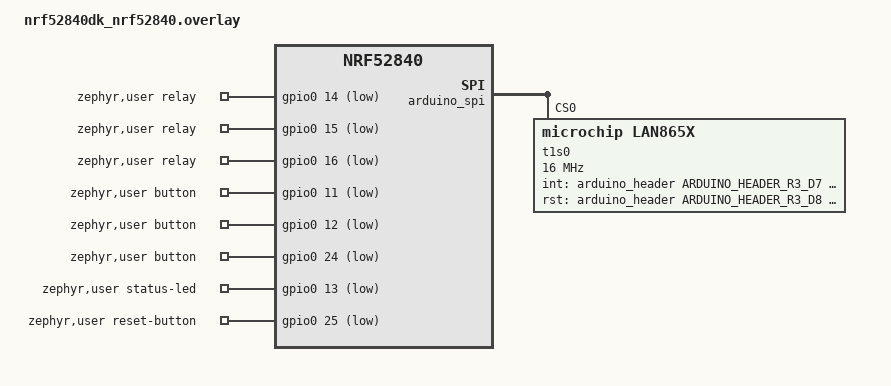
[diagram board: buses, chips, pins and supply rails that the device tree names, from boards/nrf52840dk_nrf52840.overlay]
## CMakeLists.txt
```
# SPDX-License-Identifier: Apache-2.0
cmake_minimum_required(VERSION 3.20.0)

find_package(Zephyr REQUIRED HINTS $ENV{ZEPHYR_BASE})
project(wired_switchboard LANGUAGES C)

target_include_directories(app PRIVATE src)

target_sources(app PRIVATE
	src/main.c
	src/device_model.c
	src/io_board.c
	src/app_settings.c
	src/net_t1s.c
	src/status_led.c
)

target_sources_ifdef(CONFIG_APP_MQTT app PRIVATE src/mqtt_app.c)
target_sources_ifdef(CONFIG_APP_SHELL app PRIVATE src/app_shell.c)
```

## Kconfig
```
# SPDX-License-Identifier: Apache-2.0
mainmenu "Wired Switchboard"

menu "Wired Switchboard application"

config APP_DEVICE_NAME_DEFAULT
	string "Default device name (used for MQTT topics / HA discovery)"
	default "switchboard"

config APP_STATE_RESTORE
	bool "Restore channel states after power loss"
	default y
	help
	  Channel states are written to NVS (debounced) and restored at boot.
	  Useful because PoDL supply interruptions are a normal event on a
	  shared bus segment.

config APP_STATE_SAVE_DELAY_MS
	int "Debounce before persisting channel state"
	default 2000
	help
	  Limits flash wear when a channel is toggled repeatedly.

config APP_SHELL
	bool "Provisioning shell commands (sb ...)"
	default y
	depends on SHELL

menu "10BASE-T1S / PLCA defaults"

config APP_PLCA_NODE_ID_DEFAULT
	int "Default PLCA node ID (0 = coordinator, 255 = PLCA disabled/CSMA-CD)"
	range 0 255
	default 1

config APP_PLCA_NODE_COUNT_DEFAULT
	int "Default PLCA node count (only relevant for the coordinator)"
	range 1 255
	default 8

config APP_PLCA_BURST_COUNT
	int "PLCA burst count"
	range 0 255
	default 0

config APP_PLCA_BURST_TIMER
	int "PLCA burst timer [bit times]"
	range 0 255
	default 128

config APP_PLCA_TO_TIMER
	int "PLCA transmit opportunity timer [bit times]"
	range 0 255
	default 32

endmenu

menuconfig APP_MQTT
	bool "MQTT front-end (Home Assistant discovery)"
	default y
	depends on MQTT_LIB

if APP_MQTT

config APP_MQTT_BROKER_DEFAULT
	string "Default MQTT broker host name or IP"
	default "mqtt.local"

config APP_MQTT_PORT_DEFAULT
	int "Default MQTT broker port"
	default 1883

config APP_MQTT_TOPIC_PREFIX
	string "Topic prefix"
	default "switchboard"

config APP_MQTT_HA_DISCOVERY
	bool "Publish Home Assistant MQTT discovery messages"
	default y

config APP_MQTT_HA_DISCOVERY_PREFIX
	string "Home Assistant discovery prefix"
	default "homeassistant"
	depends on APP_MQTT_HA_DISCOVERY

config APP_MQTT_KEEPALIVE_S
	int "MQTT keep-alive [s]"
	default 60

config APP_MQTT_THREAD_STACK_SIZE
	int "MQTT thread stack size"
	default 3072

config APP_MQTT_THREAD_PRIO
	int "MQTT thread priority"
	default 7

endif # APP_MQTT

module = APP
module-str = Wired Switchboard
source "subsys/logging/Kconfig.template.log_config"

endmenu

source "Kconfig.zephyr"
```

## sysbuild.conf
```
# MCUboot as the immutable first stage. Phase 1 uses internal flash only
# (app is ~250 kB); phase 2 (Matter) will move the secondary slot to the
# external QSPI NOR (MX25R64 on the DK), see docs/architecture.md.
SB_CONFIG_BOOTLOADER_MCUBOOT=y
```

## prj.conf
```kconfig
# SPDX-License-Identifier: Apache-2.0
# Wired Switchboard - phase 1: 10BASE-T1S (LAN8651 MAC-PHY) + MQTT

# ---------------------------------------------------------------- System
CONFIG_MAIN_STACK_SIZE=3072
CONFIG_SYSTEM_WORKQUEUE_STACK_SIZE=3072
CONFIG_HEAP_MEM_POOL_SIZE=16384
CONFIG_HWINFO=y
CONFIG_REBOOT=y
CONFIG_GPIO=y
CONFIG_SPI=y
CONFIG_ASSERT=y
CONFIG_HW_STACK_PROTECTION=y
CONFIG_RESET_ON_FATAL_ERROR=y

# ---------------------------------------------------------------- Logging / shell
# Dev console = UART0 via the J-Link VCOM on the DK.
# For USB CDC-ACM instead:  west build ... -S cdc-acm-console
CONFIG_LOG=y
CONFIG_LOG_MODE_DEFERRED=y
CONFIG_LOG_BUFFER_SIZE=4096
CONFIG_LOG_DEFAULT_LEVEL=3
CONFIG_SHELL=y
CONFIG_SHELL_STACK_SIZE=3072
CONFIG_NET_SHELL=y

# ---------------------------------------------------------------- Persistent settings
CONFIG_FLASH=y
CONFIG_FLASH_MAP=y
CONFIG_FLASH_PAGE_LAYOUT=y
CONFIG_NVS=y
CONFIG_SETTINGS=y
CONFIG_SETTINGS_NVS=y
CONFIG_SETTINGS_RUNTIME=y

# ---------------------------------------------------------------- Networking core
CONFIG_NETWORKING=y
CONFIG_NET_L2_ETHERNET=y
CONFIG_NET_L2_ETHERNET_MGMT=y
CONFIG_NET_IPV4=y
CONFIG_NET_IPV6=y
CONFIG_NET_DHCPV4=y
CONFIG_NET_IPV4_AUTO=y
CONFIG_NET_TCP=y
CONFIG_NET_UDP=y
CONFIG_NET_SOCKETS=y
CONFIG_NET_SOCKETS_POLL_MAX=4
CONFIG_NET_MGMT=y
CONFIG_NET_MGMT_EVENT=y
CONFIG_NET_MGMT_EVENT_INFO=y
CONFIG_NET_CONNECTION_MANAGER=y
CONFIG_NET_CONFIG_SETTINGS=n

# Buffers sized for a 10 Mbit/s shared segment, conservative on 256 kB RAM.
CONFIG_NET_PKT_RX_COUNT=16
CONFIG_NET_PKT_TX_COUNT=16
CONFIG_NET_BUF_RX_COUNT=32
CONFIG_NET_BUF_TX_COUNT=32
CONFIG_NET_MAX_CONTEXTS=8
CONFIG_NET_MAX_CONN=6
CONFIG_NET_IF_MCAST_IPV6_ADDR_COUNT=6

# Name resolution + discoverability ("<hostname>.local")
CONFIG_DNS_RESOLVER=y
CONFIG_MDNS_RESPONDER=y
CONFIG_MDNS_RESOLVER=y
CONFIG_NET_HOSTNAME_ENABLE=y
CONFIG_NET_HOSTNAME="switchboard"
CONFIG_NET_HOSTNAME_DYNAMIC=y
CONFIG_NET_HOSTNAME_MAX_LEN=40

# ---------------------------------------------------------------- 10BASE-T1S MAC-PHY
# ETH_LAN865X / MDIO / T1S PHY drivers are enabled automatically from DT.
CONFIG_ETH_LAN865X_IRQ_THREAD_STACK_SIZE=1024

# ---------------------------------------------------------------- MQTT
CONFIG_MQTT_LIB=y
CONFIG_MQTT_KEEPALIVE=60
CONFIG_APP_MQTT=y

# ---------------------------------------------------------------- DFU (MCUboot + SMP over shell UART)
CONFIG_MCUMGR=y
CONFIG_MCUMGR_TRANSPORT_SHELL=y
CONFIG_MCUMGR_GRP_IMG=y
CONFIG_MCUMGR_GRP_OS=y
CONFIG_IMG_MANAGER=y
CONFIG_STREAM_FLASH=y
CONFIG_ZCBOR=y
CONFIG_BASE64=y
CONFIG_CRC=y
```

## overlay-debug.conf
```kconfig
CONFIG_LOG_DEFAULT_LEVEL=4
CONFIG_APP_LOG_LEVEL_DBG=y
CONFIG_NET_LOG=y
CONFIG_ETHERNET_LOG_LEVEL_DBG=y
CONFIG_MQTT_LOG_LEVEL_DBG=y
CONFIG_DEBUG_OPTIMIZATIONS=y
CONFIG_DEBUG_THREAD_INFO=y
CONFIG_THREAD_ANALYZER=y
CONFIG_THREAD_ANALYZER_AUTO=y
CONFIG_THREAD_ANALYZER_AUTO_INTERVAL=60
CONFIG_THREAD_NAME=y
```

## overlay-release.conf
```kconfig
CONFIG_LOG_DEFAULT_LEVEL=1
CONFIG_ASSERT=n
CONFIG_NET_SHELL=n
CONFIG_SIZE_OPTIMIZATIONS=y
```

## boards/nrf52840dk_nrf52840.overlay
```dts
/*
 * nRF52840-DK + Microchip LAN8651 10BASE-T1S MAC-PHY on the Arduino header
 * (e.g. MIKROE "Two-Wire ETH Click" on an Arduino-UNO click shield, or a
 * hand-wired LAN8651 breakout).
 *
 *   LAN8651     DK (Arduino)    nRF52840
 *   SCK         D13             P1.15
 *   SDO (MISO)  D12             P1.14
 *   SDI (MOSI)  D11             P1.13
 *   CS_N        D10             P1.12
 *   IRQ_N       D7              P1.08   (adapt to your shield)
 *   RESET_N     D8              P1.10   (adapt to your shield)
 *
 * SPIM3 is the only nRF52840 SPI master above 8 MHz. It supports 16/32 MHz;
 * the LAN865x allows max 25 MHz, so the driver ends up at 16 MHz. That is
 * plenty for a 10 Mbit/s shared bus with OA-TC6 framing overhead.
 */

#include <zephyr/dt-bindings/gpio/gpio.h>
#include <zephyr/dt-bindings/gpio/arduino-header-r3.h>

&arduino_spi {
	status = "okay";

	t1s0: lan865x@0 {
		compatible = "microchip,lan865x";
		reg = <0>;
		spi-max-frequency = <16000000>;
		int-gpios = <&arduino_header ARDUINO_HEADER_R3_D7 GPIO_ACTIVE_LOW>;
		rst-gpios = <&arduino_header ARDUINO_HEADER_R3_D8 GPIO_ACTIVE_LOW>;
		/* Placeholder - overwritten at runtime from FICR (locally administered). */
		local-mac-address = [02 00 00 00 00 01];
		status = "okay";

		t1s0_mdio: lan865x_mdio {
			compatible = "microchip,lan865x-mdio";
			#address-cells = <1>;
			#size-cells = <0>;
			status = "okay";

			t1s0_phy: ethernet-phy@0 {
				compatible = "microchip,t1s-phy";
				reg = <0x0>;
				/* Boot defaults only; the app re-applies the provisioned
				 * PLCA config from NVS (see `sb plca` shell command). */
				plca-enable;
				plca-node-id = <1>;
				plca-node-count = <8>;
				plca-burst-count = <0>;
				plca-burst-timer = <0x80>;
				plca-to-timer = <0x20>;
				status = "okay";
			};
		};
	};
};

/ {
	/*
	 * Switchboard I/O. On the DK: LED1..LED3 stand in for relays,
	 * Button1..Button3 are the local wall-switch inputs.
	 * LED0 = status LED, Button4 long press = factory reset.
	 * On the real board, map relay drivers / opto inputs here.
	 */
	zephyr,user {
		relay-gpios = <&gpio0 14 GPIO_ACTIVE_LOW>,
			      <&gpio0 15 GPIO_ACTIVE_LOW>,
			      <&gpio0 16 GPIO_ACTIVE_LOW>;
		button-gpios = <&gpio0 11 (GPIO_PULL_UP | GPIO_ACTIVE_LOW)>,
			       <&gpio0 12 (GPIO_PULL_UP | GPIO_ACTIVE_LOW)>,
			       <&gpio0 24 (GPIO_PULL_UP | GPIO_ACTIVE_LOW)>;
		status-led-gpios = <&gpio0 13 GPIO_ACTIVE_LOW>;
		reset-button-gpios = <&gpio0 25 (GPIO_PULL_UP | GPIO_ACTIVE_LOW)>;
	};
};

/* The DK's I2C0/SPI0/SPI1 are not needed; free the pins and power. */
&spi1 {
	status = "disabled";
};
```

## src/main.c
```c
/* SPDX-License-Identifier: Apache-2.0 */
/*
 * Wired Switchboard - nRF52840 + LAN8651 10BASE-T1S, powered over the data line.
 *
 * Init order matters:
 *   1. settings   - provisioning + persisted channel state
 *   2. outputs    - relays to a safe state, register as DM listener
 *   3. front-ends - MQTT (and Matter in phase 2) register as DM listeners
 *   4. dm_init    - restore channel state -> drives relays, notifies front-ends
 *   5. network    - MAC, PLCA, DHCP; front-ends connect once online
 */
#include "app_settings.h"
#include "device_model.h"
#include "io_board.h"
#include "net_t1s.h"
#include "status_led.h"
#if defined(CONFIG_APP_MQTT)
#include "mqtt_app.h"
#endif

#include <app_version.h>
#include <zephyr/kernel.h>
#include <zephyr/logging/log.h>

LOG_MODULE_REGISTER(main, CONFIG_APP_LOG_LEVEL);

#define CHECK(expr)                                                                        \
	do {                                                                               \
		int _err = (expr);                                                         \
		if (_err) {                                                                \
			LOG_ERR("%s failed (%d)", #expr, _err);                            \
			status_led_set(STATUS_ERROR);                                      \
			return _err;                                                       \
		}                                                                          \
	} while (0)

int main(void)
{
	LOG_INF("Wired Switchboard v" APP_VERSION_EXTENDED_STRING);

	status_led_init();
	CHECK(app_settings_init());
	CHECK(io_board_init());
#if defined(CONFIG_APP_MQTT)
	CHECK(mqtt_app_init());
#endif
	CHECK(dm_init(io_board_channel_count()));
	CHECK(net_t1s_init());

	/* Everything else is event driven (work queue, MQTT thread). */
	return 0;
}
```

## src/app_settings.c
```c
/* SPDX-License-Identifier: Apache-2.0 */
#include "app_settings.h"

#include <errno.h>
#include <string.h>
#include <zephyr/kernel.h>
#include <zephyr/logging/log.h>
#include <zephyr/settings/settings.h>
#include <zephyr/sys/util.h>

LOG_MODULE_REGISTER(cfg, CONFIG_APP_LOG_LEVEL);

static struct app_config cfg = {
	.name = CONFIG_APP_DEVICE_NAME_DEFAULT,
	.plca_node_id = CONFIG_APP_PLCA_NODE_ID_DEFAULT,
	.plca_node_count = CONFIG_APP_PLCA_NODE_COUNT_DEFAULT,
#if defined(CONFIG_APP_MQTT)
	.mqtt_host = CONFIG_APP_MQTT_BROKER_DEFAULT,
	.mqtt_port = CONFIG_APP_MQTT_PORT_DEFAULT,
#endif
};

static int read_str(char *dst, size_t dst_size, size_t len, settings_read_cb read_cb, void *arg)
{
	if (len >= dst_size) {
		return -EINVAL;
	}
	ssize_t rc = read_cb(arg, dst, len);

	if (rc < 0) {
		return rc;
	}
	dst[rc] = '\0';
	return 0;
}

static int read_val(void *dst, size_t size, size_t len, settings_read_cb read_cb, void *arg)
{
	if (len != size) {
		return -EINVAL;
	}
	return read_cb(arg, dst, size) == size ? 0 : -EIO;
}

static int sb_set(const char *key, size_t len, settings_read_cb read_cb, void *arg)
{
	if (!strcmp(key, "name")) {
		return read_str(cfg.name, sizeof(cfg.name), len, read_cb, arg);
	}
	if (!strcmp(key, "plca_id")) {
		return read_val(&cfg.plca_node_id, sizeof(cfg.plca_node_id), len, read_cb, arg);
	}
	if (!strcmp(key, "plca_cnt")) {
		return read_val(&cfg.plca_node_count, sizeof(cfg.plca_node_count), len, read_cb,
				arg);
	}
	if (!strcmp(key, "mqtt_host")) {
		return read_str(cfg.mqtt_host, sizeof(cfg.mqtt_host), len, read_cb, arg);
	}
	if (!strcmp(key, "mqtt_port")) {
		return read_val(&cfg.mqtt_port, sizeof(cfg.mqtt_port), len, read_cb, arg);
	}
	return -ENOENT;
}

SETTINGS_STATIC_HANDLER_DEFINE(sb, "sb", NULL, sb_set, NULL, NULL);

int app_settings_init(void)
{
	int err = settings_subsys_init();

	if (err) {
		LOG_ERR("settings init failed (%d)", err);
		return err;
	}
	return settings_load();
}

const struct app_config *app_cfg(void)
{
	return &cfg;
}

static bool valid_name(const char *s)
{
	/* Used verbatim in MQTT topics: no wildcards, separators or spaces. */
	if (!*s) {
		return false;
	}
	for (; *s; s++) {
		if (!((*s >= 'a' && *s <= 'z') || (*s >= 'A' && *s <= 'Z') ||
		      (*s >= '0' && *s <= '9') || *s == '-' || *s == '_')) {
			return false;
		}
	}
	return true;
}

int app_settings_set_name(const char *name)
{
	if (strlen(name) >= sizeof(cfg.name) || !valid_name(name)) {
		return -EINVAL;
	}
	strcpy(cfg.name, name);
	return settings_save_one("sb/name", cfg.name, strlen(cfg.name));
}

int app_settings_set_plca(uint8_t node_id, uint8_t node_count)
{
	if (node_count == 0 || (node_id != 255 && node_id >= node_count)) {
		return -EINVAL;
	}
	cfg.plca_node_id = node_id;
	cfg.plca_node_count = node_count;

	int err = settings_save_one("sb/plca_id", &cfg.plca_node_id, sizeof(cfg.plca_node_id));

	return err ? err : settings_save_one("sb/plca_cnt", &cfg.plca_node_count,
					     sizeof(cfg.plca_node_count));
}

int app_settings_set_mqtt(const char *host, uint16_t port)
{
	if (strlen(host) >= sizeof(cfg.mqtt_host) || port == 0) {
		return -EINVAL;
	}
	strcpy(cfg.mqtt_host, host);
	cfg.mqtt_port = port;

	int err = settings_save_one("sb/mqtt_host", cfg.mqtt_host, strlen(cfg.mqtt_host));

	return err ? err : settings_save_one("sb/mqtt_port", &cfg.mqtt_port, sizeof(cfg.mqtt_port));
}

int app_settings_factory_reset(void)
{
	/*
	 * Delete our keys through the settings API instead of erasing the
	 * partition directly: the partition name differs between Partition
	 * Manager (NCS) and plain DT fixed-partitions builds.
	 * Phase 2: also call chip::Server::ScheduleFactoryReset() for Matter.
	 */
	static const char *const keys[] = {
		"sb/name", "sb/plca_id", "sb/plca_cnt", "sb/mqtt_host", "sb/mqtt_port", "dm/state",
	};
	int ret = 0;

	for (size_t i = 0; i < ARRAY_SIZE(keys); i++) {
		int err = settings_delete(keys[i]);

		if (err && err != -ENOENT) {
			ret = err;
		}
	}
	return ret;
}
```

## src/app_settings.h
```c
/* SPDX-License-Identifier: Apache-2.0 */
/*
 * Provisioned configuration, persisted in NVS under "sb/...".
 * Defaults come from Kconfig; values are changed via the `sb` shell
 * (and later via MQTT/Matter if desired).
 */
#ifndef APP_SETTINGS_H_
#define APP_SETTINGS_H_

#include <stdint.h>

#define APP_NAME_MAX   32
#define APP_HOST_MAX   64

struct app_config {
	char name[APP_NAME_MAX];       /* topic / discovery id */
	uint8_t plca_node_id;          /* 0 = coordinator, 255 = PLCA off */
	uint8_t plca_node_count;
	char mqtt_host[APP_HOST_MAX];
	uint16_t mqtt_port;
};

/* Registers handler, loads all settings (also for other subsystems). */
int app_settings_init(void);

/* Read-only view of the current config. */
const struct app_config *app_cfg(void);

int app_settings_set_name(const char *name);
int app_settings_set_plca(uint8_t node_id, uint8_t node_count);
int app_settings_set_mqtt(const char *host, uint16_t port);

/* Erase all persisted settings (provisioning + channel state). */
int app_settings_factory_reset(void);

#endif
```

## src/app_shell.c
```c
/* SPDX-License-Identifier: Apache-2.0 */
/*
 * Provisioning / service shell:
 *
 *   sb show                     current config + channel states
 *   sb name <id>                device name (MQTT topic/HA id), [A-Za-z0-9_-]
 *   sb plca <node_id> [count]   PLCA node id (0 = coordinator, 255 = off)
 *   sb mqtt <host> [port]       broker
 *   sb ch <n> on|off|toggle     drive a channel
 *   sb factory-reset            erase config + state, reboot
 */
#include "app_settings.h"
#include "device_model.h"
#include "net_t1s.h"
#if defined(CONFIG_APP_MQTT)
#include "mqtt_app.h"
#endif

#include <stdlib.h>
#include <string.h>
#include <zephyr/shell/shell.h>
#include <zephyr/sys/reboot.h>

static int cmd_show(const struct shell *sh, size_t argc, char **argv)
{
	const struct app_config *c = app_cfg();

	shell_print(sh, "name        : %s", c->name);
	shell_print(sh, "device id   : %s", net_t1s_device_id());
	shell_print(sh, "network     : %s", net_t1s_is_online() ? "online" : "offline");
	if (c->plca_node_id == 255) {
		shell_print(sh, "PLCA        : off (CSMA/CD)");
	} else {
		shell_print(sh, "PLCA        : node %u of %u", c->plca_node_id, c->plca_node_count);
	}
#if defined(CONFIG_APP_MQTT)
	shell_print(sh, "MQTT broker : %s:%u (%s)", c->mqtt_host, c->mqtt_port,
		    mqtt_app_is_connected() ? "connected" : "not connected");
#endif
	for (size_t i = 0; i < dm_channel_count(); i++) {
		shell_print(sh, "ch%u         : %s", (unsigned)i, dm_get(i) ? "ON" : "OFF");
	}
	return 0;
}

static int cmd_name(const struct shell *sh, size_t argc, char **argv)
{
	int err = app_settings_set_name(argv[1]);

	if (err) {
		shell_error(sh, "invalid name (%d)", err);
		return err;
	}
	shell_print(sh, "saved; reboot to apply to hostname/topics");
	return 0;
}

static int cmd_plca(const struct shell *sh, size_t argc, char **argv)
{
	long id = strtol(argv[1], NULL, 0);
	long cnt = argc > 2 ? strtol(argv[2], NULL, 0) : app_cfg()->plca_node_count;
	int err;

	if (id < 0 || id > 255 || cnt < 1 || cnt > 255) {
		shell_error(sh, "range: id 0..254 (255 = off), count 1..255");
		return -EINVAL;
	}
	err = app_settings_set_plca(id, cnt);
	if (err) {
		shell_error(sh, "invalid: node id must be < node count (%d)", err);
		return err;
	}
	err = net_t1s_apply_plca(id, cnt);
	shell_print(sh, "saved, %s", err ? "apply FAILED (reboot)" : "applied");
	return 0;
}

#if defined(CONFIG_APP_MQTT)
static int cmd_mqtt(const struct shell *sh, size_t argc, char **argv)
{
	long port = argc > 2 ? strtol(argv[2], NULL, 0) : app_cfg()->mqtt_port;
	int err;

	if (port < 1 || port > 65535) {
		return -EINVAL;
	}
	err = app_settings_set_mqtt(argv[1], port);
	if (err) {
		shell_error(sh, "invalid (%d)", err);
		return err;
	}
	mqtt_app_reconnect();
	shell_print(sh, "saved, reconnecting");
	return 0;
}
#endif

static int cmd_ch(const struct shell *sh, size_t argc, char **argv)
{
	long ch = strtol(argv[1], NULL, 0);
	int err;

	if (!strcmp(argv[2], "on")) {
		err = dm_set(ch, true, DM_SRC_SHELL);
	} else if (!strcmp(argv[2], "off")) {
		err = dm_set(ch, false, DM_SRC_SHELL);
	} else if (!strcmp(argv[2], "toggle")) {
		err = dm_toggle(ch, DM_SRC_SHELL);
	} else {
		err = -EINVAL;
	}
	if (err) {
		shell_error(sh, "usage: sb ch <n> on|off|toggle");
	}
	return err;
}

static int cmd_factory_reset(const struct shell *sh, size_t argc, char **argv)
{
	shell_warn(sh, "erasing configuration and rebooting");
	app_settings_factory_reset();
	k_sleep(K_MSEC(200));
	sys_reboot(SYS_REBOOT_COLD);
	return 0;
}

SHELL_STATIC_SUBCMD_SET_CREATE(sb_cmds,
	SHELL_CMD_ARG(show, NULL, "Show configuration and state", cmd_show, 1, 0),
	SHELL_CMD_ARG(name, NULL, "<id> Set device name", cmd_name, 2, 0),
	SHELL_CMD_ARG(plca, NULL, "<node_id> [node_count] Set PLCA (255 = off)", cmd_plca, 2, 1),
#if defined(CONFIG_APP_MQTT)
	SHELL_CMD_ARG(mqtt, NULL, "<host> [port] Set MQTT broker", cmd_mqtt, 2, 1),
#endif
	SHELL_CMD_ARG(ch, NULL, "<n> on|off|toggle", cmd_ch, 3, 0),
	SHELL_CMD_ARG(factory-reset, NULL, "Erase config and reboot", cmd_factory_reset, 1, 0),
	SHELL_SUBCMD_SET_END);

SHELL_CMD_REGISTER(sb, &sb_cmds, "Wired Switchboard commands", NULL);
```

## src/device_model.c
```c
/* SPDX-License-Identifier: Apache-2.0 */
#include "device_model.h"

#include <errno.h>
#include <string.h>
#include <zephyr/kernel.h>
#include <zephyr/logging/log.h>
#include <zephyr/settings/settings.h>
#include <zephyr/sys/atomic.h>

LOG_MODULE_REGISTER(dm, CONFIG_APP_LOG_LEVEL);

#define MAX_LISTENERS 4

static size_t n_channels;
static atomic_t state;          /* bit n = channel n on */
static atomic_t pending_notify; /* bits to notify */
static enum dm_source last_src[DM_MAX_CHANNELS];
static dm_listener_t listeners[MAX_LISTENERS];
static size_t n_listeners;
static K_MUTEX_DEFINE(lock);

static void notify_work_fn(struct k_work *w);
static K_WORK_DEFINE(notify_work, notify_work_fn);

#if defined(CONFIG_APP_STATE_RESTORE)
static void save_work_fn(struct k_work *w);
static K_WORK_DELAYABLE_DEFINE(save_work, save_work_fn);
static uint32_t restored_state;
static bool restored_valid;

static int dm_settings_set(const char *name, size_t len, settings_read_cb read_cb, void *cb_arg)
{
	if (strcmp(name, "state") == 0 && len == sizeof(restored_state)) {
		if (read_cb(cb_arg, &restored_state, sizeof(restored_state)) ==
		    sizeof(restored_state)) {
			restored_valid = true;
		}
		return 0;
	}
	return -ENOENT;
}

SETTINGS_STATIC_HANDLER_DEFINE(dm, "dm", NULL, dm_settings_set, NULL, NULL);

static void save_work_fn(struct k_work *w)
{
	uint32_t s = (uint32_t)atomic_get(&state);
	int err = settings_save_one("dm/state", &s, sizeof(s));

	if (err) {
		LOG_WRN("persist state failed (%d)", err);
	}
}
#endif

static void notify_work_fn(struct k_work *w)
{
	atomic_val_t bits = atomic_clear(&pending_notify);
	atomic_val_t s = atomic_get(&state);

	for (size_t ch = 0; ch < n_channels; ch++) {
		if (!(bits & BIT(ch))) {
			continue;
		}
		for (size_t i = 0; i < n_listeners; i++) {
			listeners[i](ch, (s & BIT(ch)) != 0, last_src[ch]);
		}
	}
}

int dm_init(size_t channel_count)
{
	if (channel_count == 0 || channel_count > DM_MAX_CHANNELS) {
		return -EINVAL;
	}
	n_channels = channel_count;
	atomic_clear(&state);

#if defined(CONFIG_APP_STATE_RESTORE)
	/* settings_load() has run in main() before dm_init(). */
	if (restored_valid) {
		LOG_INF("restoring channel state 0x%02x", restored_state);
		for (size_t ch = 0; ch < n_channels; ch++) {
			dm_set(ch, restored_state & BIT(ch), DM_SRC_BOOT);
		}
	}
#endif
	return 0;
}

size_t dm_channel_count(void)
{
	return n_channels;
}

bool dm_get(size_t ch)
{
	return ch < n_channels && (atomic_get(&state) & BIT(ch));
}

int dm_set(size_t ch, bool on, enum dm_source src)
{
	if (ch >= n_channels) {
		return -EINVAL;
	}

	k_mutex_lock(&lock, K_FOREVER);
	bool was = atomic_test_bit(&state, ch);

	if (on) {
		atomic_set_bit(&state, ch);
	} else {
		atomic_clear_bit(&state, ch);
	}
	last_src[ch] = src;
	k_mutex_unlock(&lock);

	/*
	 * Always notify on boot (front-ends need the initial value) and on
	 * change. A "set" to the same value from a remote is still echoed so
	 * that a controller with a stale view converges.
	 */
	if (was != on || src == DM_SRC_BOOT || src == DM_SRC_MQTT || src == DM_SRC_MATTER) {
		LOG_INF("ch%u -> %s (%s)", (unsigned)ch, on ? "ON" : "OFF", dm_source_str(src));
		atomic_set_bit(&pending_notify, ch);
		k_work_submit(&notify_work);
#if defined(CONFIG_APP_STATE_RESTORE)
		if (src != DM_SRC_BOOT && was != on) {
			k_work_reschedule(&save_work, K_MSEC(CONFIG_APP_STATE_SAVE_DELAY_MS));
		}
#endif
	}
	return 0;
}

int dm_toggle(size_t ch, enum dm_source src)
{
	if (ch >= n_channels) {
		return -EINVAL;
	}
	return dm_set(ch, !dm_get(ch), src);
}

int dm_register_listener(dm_listener_t cb)
{
	if (n_listeners >= MAX_LISTENERS) {
		return -ENOMEM;
	}
	listeners[n_listeners++] = cb;
	return 0;
}

const char *dm_source_str(enum dm_source src)
{
	switch (src) {
	case DM_SRC_BOOT:   return "boot";
	case DM_SRC_LOCAL:  return "local";
	case DM_SRC_MQTT:   return "mqtt";
	case DM_SRC_MATTER: return "matter";
	case DM_SRC_SHELL:  return "shell";
	}
	return "?";
}
```

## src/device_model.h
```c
/* SPDX-License-Identifier: Apache-2.0 */
/*
 * Device model: the single owner of the switchboard state.
 *
 * Protocol front-ends (MQTT, Matter) and the local I/O never talk to each
 * other directly. They call dm_set()/dm_toggle() and get notified through
 * listeners. This keeps MQTT and Matter consistent without either protocol
 * "owning" the relay state.
 */
#ifndef DEVICE_MODEL_H_
#define DEVICE_MODEL_H_

#include <stdbool.h>
#include <stddef.h>

#define DM_MAX_CHANNELS 8

enum dm_source {
	DM_SRC_BOOT,   /* restored from NVS */
	DM_SRC_LOCAL,  /* physical button / wall switch */
	DM_SRC_MQTT,
	DM_SRC_MATTER,
	DM_SRC_SHELL,
};

/* Called from the system work queue. Must not block. */
typedef void (*dm_listener_t)(size_t ch, bool on, enum dm_source src);

int dm_init(size_t channel_count);
size_t dm_channel_count(void);
bool dm_get(size_t ch);
int dm_set(size_t ch, bool on, enum dm_source src);
int dm_toggle(size_t ch, enum dm_source src);
int dm_register_listener(dm_listener_t cb);
const char *dm_source_str(enum dm_source src);

#endif /* DEVICE_MODEL_H_ */
```

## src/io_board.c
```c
/* SPDX-License-Identifier: Apache-2.0 */
/*
 * Local I/O: relay outputs and wall-switch / push-button inputs, taken from
 * the `zephyr,user` devicetree node:
 *
 *   relay-gpios        - one per channel (outputs)
 *   button-gpios       - one per channel (inputs, toggle on press)
 *   reset-button-gpios - optional, long press (>= 5 s) = factory reset
 */
#include "io_board.h"
#include "device_model.h"
#include "app_settings.h"

#include <zephyr/drivers/gpio.h>
#include <zephyr/kernel.h>
#include <zephyr/logging/log.h>
#include <zephyr/sys/reboot.h>
#include <zephyr/sys/util.h>

LOG_MODULE_REGISTER(io, CONFIG_APP_LOG_LEVEL);

#define USER_NODE DT_PATH(zephyr_user)

#define N_RELAYS  DT_PROP_LEN(USER_NODE, relay_gpios)
#define N_BUTTONS DT_PROP_LEN_OR(USER_NODE, button_gpios, 0)

BUILD_ASSERT(N_RELAYS <= DM_MAX_CHANNELS, "too many relay channels");
BUILD_ASSERT(N_BUTTONS == 0 || N_BUTTONS == N_RELAYS,
	     "button-gpios must match relay-gpios 1:1 (or be absent)");

#define GPIO_SPEC_ELEM(node, prop, idx) GPIO_DT_SPEC_GET_BY_IDX(node, prop, idx),

static const struct gpio_dt_spec relays[] = {
	DT_FOREACH_PROP_ELEM(USER_NODE, relay_gpios, GPIO_SPEC_ELEM)
};

#if N_BUTTONS > 0
static const struct gpio_dt_spec buttons[] = {
	DT_FOREACH_PROP_ELEM(USER_NODE, button_gpios, GPIO_SPEC_ELEM)
};
static struct gpio_callback button_cb[N_BUTTONS];
static struct k_work_delayable debounce_work[N_BUTTONS];
#endif

#define DEBOUNCE_MS 30

#if DT_NODE_HAS_PROP(USER_NODE, reset_button_gpios)
#define HAS_RESET_BUTTON 1
#define FACTORY_RESET_HOLD_MS 5000
static const struct gpio_dt_spec reset_btn = GPIO_DT_SPEC_GET(USER_NODE, reset_button_gpios);
static struct gpio_callback reset_cb;
static struct k_work_delayable reset_work;
#else
#define HAS_RESET_BUTTON 0
#endif

size_t io_board_channel_count(void)
{
	return N_RELAYS;
}

static void relay_listener(size_t ch, bool on, enum dm_source src)
{
	ARG_UNUSED(src);
	if (ch < N_RELAYS) {
		gpio_pin_set_dt(&relays[ch], on);
	}
}

#if N_BUTTONS > 0
static void debounce_fn(struct k_work *work)
{
	struct k_work_delayable *dw = k_work_delayable_from_work(work);
	size_t ch = dw - debounce_work;

	/* Toggle on a stable press. For latching wall switches (not push
	 * buttons) you would instead toggle on every stable edge. */
	if (gpio_pin_get_dt(&buttons[ch]) == 1) {
		dm_toggle(ch, DM_SRC_LOCAL);
	}
}

static void button_isr(const struct device *port, struct gpio_callback *cb, uint32_t pins)
{
	size_t ch = cb - button_cb;

	k_work_reschedule(&debounce_work[ch], K_MSEC(DEBOUNCE_MS));
}
#endif

#if HAS_RESET_BUTTON
static void reset_fn(struct k_work *work)
{
	if (gpio_pin_get_dt(&reset_btn) == 1) {
		LOG_WRN("factory reset requested");
		app_settings_factory_reset();
		sys_reboot(SYS_REBOOT_COLD);
	}
}

static void reset_isr(const struct device *port, struct gpio_callback *cb, uint32_t pins)
{
	if (gpio_pin_get_dt(&reset_btn) == 1) {
		k_work_reschedule(&reset_work, K_MSEC(FACTORY_RESET_HOLD_MS));
	} else {
		k_work_cancel_delayable(&reset_work);
	}
}
#endif

static int setup_input(const struct gpio_dt_spec *spec, struct gpio_callback *cb,
		       gpio_callback_handler_t handler, gpio_flags_t edge)
{
	int err;

	if (!gpio_is_ready_dt(spec)) {
		return -ENODEV;
	}
	err = gpio_pin_configure_dt(spec, GPIO_INPUT);
	if (err) {
		return err;
	}
	err = gpio_pin_interrupt_configure_dt(spec, edge);
	if (err) {
		return err;
	}
	gpio_init_callback(cb, handler, BIT(spec->pin));
	return gpio_add_callback_dt(spec, cb);
}

int io_board_init(void)
{
	int err;

	for (size_t i = 0; i < N_RELAYS; i++) {
		if (!gpio_is_ready_dt(&relays[i])) {
			return -ENODEV;
		}
		/* Safe state until the device model has restored/decided. */
		err = gpio_pin_configure_dt(&relays[i], GPIO_OUTPUT_INACTIVE);
		if (err) {
			return err;
		}
	}

	err = dm_register_listener(relay_listener);
	if (err) {
		return err;
	}

#if N_BUTTONS > 0
	for (size_t i = 0; i < N_BUTTONS; i++) {
		k_work_init_delayable(&debounce_work[i], debounce_fn);
		err = setup_input(&buttons[i], &button_cb[i], button_isr, GPIO_INT_EDGE_BOTH);
		if (err) {
			LOG_ERR("button %u setup failed (%d)", (unsigned)i, err);
			return err;
		}
	}
#endif

#if HAS_RESET_BUTTON
	k_work_init_delayable(&reset_work, reset_fn);
	err = setup_input(&reset_btn, &reset_cb, reset_isr, GPIO_INT_EDGE_BOTH);
	if (err) {
		LOG_WRN("reset button setup failed (%d)", err);
	}
#endif

	LOG_INF("%u relay channel(s), %u button(s)", N_RELAYS, N_BUTTONS);
	return 0;
}
```

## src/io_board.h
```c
/* SPDX-License-Identifier: Apache-2.0 */
#ifndef IO_BOARD_H_
#define IO_BOARD_H_

#include <stddef.h>

/* Number of switch channels described in devicetree (zephyr,user relay-gpios). */
size_t io_board_channel_count(void);

/* Configure relay outputs + button inputs and hook the relays to the device model.
 * Call before dm_init() so the restored state is driven onto the outputs. */
int io_board_init(void);

#endif
```

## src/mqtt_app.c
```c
/* SPDX-License-Identifier: Apache-2.0 */
/*
 * MQTT front-end with Home Assistant discovery.
 *
 * Topics (base = <prefix>/<name>):
 *   <base>/status          "online" / "offline"   retained, LWT
 *   <base>/ch/<n>/state    "ON" / "OFF"           retained
 *   <base>/ch/<n>/set      "ON" / "OFF" / "TOGGLE" (subscribed, QoS 1)
 *   <ha>/switch/<name>/ch<n>/config               retained discovery JSON
 *
 * The Zephyr MQTT client is not thread-safe, so everything runs on one
 * thread. The device-model listener only sets bits in an atomic mask that
 * the thread drains within one poll period.
 */
#include "mqtt_app.h"
#include <app_version.h>
#include "app_settings.h"
#include "device_model.h"
#include "net_t1s.h"
#include "status_led.h"

#include <errno.h>
#include <stdio.h>
#include <string.h>
#include <zephyr/kernel.h>
#include <zephyr/logging/log.h>
#include <zephyr/net/mqtt.h>
#include <zephyr/net/socket.h>
#include <zephyr/random/random.h>
#include <zephyr/sys/atomic.h>

LOG_MODULE_REGISTER(mqtt_app, CONFIG_APP_LOG_LEVEL);

#define POLL_PERIOD_MS  100
#define BACKOFF_MIN_MS  1000
#define BACKOFF_MAX_MS  60000
#define TOPIC_MAX       96
#define PAYLOAD_MAX     512

static struct mqtt_client client;
static struct sockaddr_storage broker;
static uint8_t rx_buf[256];
static uint8_t tx_buf[PAYLOAD_MAX + 128];
static char payload[PAYLOAD_MAX];
static char base[TOPIC_MAX - 24];
static char client_id[40];

static char will_topic_str[TOPIC_MAX];
static struct mqtt_topic will_topic;
static struct mqtt_utf8 will_msg = {.utf8 = (const uint8_t *)"offline", .size = 7};

static atomic_t dirty;        /* channels whose state must be published */
static atomic_t reconnect_req;
static volatile bool connected;

/* ------------------------------------------------------------------ helpers */

static int publish(const char *topic, const char *data, size_t len, bool retain)
{
	struct mqtt_publish_param p = {
		.message.topic.topic.utf8 = (const uint8_t *)topic,
		.message.topic.topic.size = strlen(topic),
		.message.topic.qos = MQTT_QOS_0_AT_MOST_ONCE,
		.message.payload.data = (uint8_t *)data,
		.message.payload.len = len,
		.message_id = sys_rand16_get(),
		.retain_flag = retain,
	};

	return mqtt_publish(&client, &p);
}

static int publish_state(size_t ch)
{
	char topic[TOPIC_MAX];
	const char *v = dm_get(ch) ? "ON" : "OFF";

	snprintk(topic, sizeof(topic), "%s/ch/%u/state", base, (unsigned)ch);
	return publish(topic, v, strlen(v), true);
}

#if defined(CONFIG_APP_MQTT_HA_DISCOVERY)
static int publish_discovery(size_t ch)
{
	const struct app_config *cfg = app_cfg();
	const char *id = net_t1s_device_id();
	char topic[TOPIC_MAX + 32];
	int n;

	snprintk(topic, sizeof(topic), CONFIG_APP_MQTT_HA_DISCOVERY_PREFIX "/switch/%s/ch%u/config",
		 cfg->name, (unsigned)ch);

	n = snprintk(payload, sizeof(payload),
		     "{\"name\":\"Channel %u\","
		     "\"uniq_id\":\"%s_ch%u\","
		     "\"stat_t\":\"%s/ch/%u/state\","
		     "\"cmd_t\":\"%s/ch/%u/set\","
		     "\"avty_t\":\"%s/status\","
		     "\"dev\":{\"ids\":[\"%s\"],\"name\":\"%s\","
		     "\"mf\":\"DIY\",\"mdl\":\"Wired Switchboard (10BASE-T1S)\","
		     "\"sw\":\"" APP_VERSION_STRING "\"}}",
		     (unsigned)ch + 1, id, (unsigned)ch, base, (unsigned)ch, base, (unsigned)ch,
		     base, id, cfg->name);
	if (n < 0 || (size_t)n >= sizeof(payload)) {
		return -ENOMEM;
	}
	return publish(topic, payload, n, true);
}
#endif

static void on_connected(void)
{
	struct mqtt_topic sub_topic;
	char sub[TOPIC_MAX];
	int err;

	snprintk(sub, sizeof(sub), "%s/ch/+/set", base);
	sub_topic = (struct mqtt_topic){
		.topic = {.utf8 = (const uint8_t *)sub, .size = strlen(sub)},
		.qos = MQTT_QOS_1_AT_LEAST_ONCE,
	};
	const struct mqtt_subscription_list subs = {
		.list = &sub_topic,
		.list_count = 1,
		.message_id = sys_rand16_get(),
	};

	err = mqtt_subscribe(&client, &subs);
	if (err) {
		LOG_ERR("subscribe failed (%d)", err);
	}

	publish(will_topic_str, "online", 6, true);
#if defined(CONFIG_APP_MQTT_HA_DISCOVERY)
	for (size_t ch = 0; ch < dm_channel_count(); ch++) {
		publish_discovery(ch);
	}
#endif
	/* Publish everything once; the broker keeps it retained. */
	atomic_set(&dirty, BIT_MASK(dm_channel_count()));
}

/* "<base>/ch/<n>/set" -> n, or -1 */
static int parse_set_topic(const uint8_t *t, size_t len)
{
	size_t bl = strlen(base);
	static const char pfx[] = "/ch/";
	static const char sfx[] = "/set";
	unsigned int ch = 0;
	size_t i;

	if (len <= bl + sizeof(pfx) - 1 + sizeof(sfx) - 1 || memcmp(t, base, bl) ||
	    memcmp(t + bl, pfx, sizeof(pfx) - 1) ||
	    memcmp(t + len - (sizeof(sfx) - 1), sfx, sizeof(sfx) - 1)) {
		return -1;
	}
	for (i = bl + sizeof(pfx) - 1; i < len - (sizeof(sfx) - 1); i++) {
		if (t[i] < '0' || t[i] > '9' || ch > 99) {
			return -1;
		}
		ch = ch * 10 + (t[i] - '0');
	}
	return ch;
}

static void handle_publish(const struct mqtt_publish_param *pub)
{
	char val[8] = {0};
	size_t len = pub->message.payload.len;
	int ch;

	/* Always drain the payload, otherwise the RX stream gets out of sync. */
	if (len >= sizeof(val)) {
		uint8_t junk[32];

		while (len) {
			int r = mqtt_read_publish_payload_blocking(&client, junk,
								   MIN(len, sizeof(junk)));
			if (r <= 0) {
				break;
			}
			len -= r;
		}
		LOG_WRN("oversized command payload dropped");
		goto ack;
	}
	if (mqtt_readall_publish_payload(&client, (uint8_t *)val, len) < 0) {
		return;
	}

	ch = parse_set_topic(pub->message.topic.topic.utf8, pub->message.topic.topic.size);
	if (ch < 0 || (size_t)ch >= dm_channel_count()) {
		LOG_WRN("command for unknown channel");
	} else if (!strcmp(val, "ON") || !strcmp(val, "1") || !strcmp(val, "true")) {
		dm_set(ch, true, DM_SRC_MQTT);
	} else if (!strcmp(val, "OFF") || !strcmp(val, "0") || !strcmp(val, "false")) {
		dm_set(ch, false, DM_SRC_MQTT);
	} else if (!strcmp(val, "TOGGLE")) {
		dm_toggle(ch, DM_SRC_MQTT);
	} else {
		LOG_WRN("ch%d: unknown command '%s'", ch, val);
	}

ack:
	if (pub->message.topic.qos == MQTT_QOS_1_AT_LEAST_ONCE) {
		const struct mqtt_puback_param ack = {.message_id = pub->message_id};

		mqtt_publish_qos1_ack(&client, &ack);
	}
}

static void mqtt_evt_handler(struct mqtt_client *c, const struct mqtt_evt *evt)
{
	switch (evt->type) {
	case MQTT_EVT_CONNACK:
		if (evt->result) {
			LOG_ERR("CONNACK refused (%d)", evt->result);
			break;
		}
		LOG_INF("connected to broker");
		connected = true;
		status_led_set(STATUS_ONLINE);
		on_connected();
		break;
	case MQTT_EVT_DISCONNECT:
		LOG_WRN("disconnected (%d)", evt->result);
		connected = false;
		status_led_set(net_t1s_is_online() ? STATUS_NETWORK_UP : STATUS_NO_NETWORK);
		break;
	case MQTT_EVT_PUBLISH:
		handle_publish(&evt->param.publish);
		break;
	case MQTT_EVT_SUBACK:
		LOG_DBG("SUBACK");
		break;
	default:
		break;
	}
}

static void dm_listener(size_t ch, bool on, enum dm_source src)
{
	ARG_UNUSED(on);
	ARG_UNUSED(src);
	atomic_set_bit(&dirty, ch);
}

/* ------------------------------------------------------------------ session */

static int resolve_broker(void)
{
	const struct app_config *cfg = app_cfg();
	struct zsock_addrinfo hints = {.ai_socktype = SOCK_STREAM};
	struct zsock_addrinfo *res;
	char port[6];
	int err;

	snprintk(port, sizeof(port), "%u", cfg->mqtt_port);
	err = zsock_getaddrinfo(cfg->mqtt_host, port, &hints, &res);
	if (err) {
		LOG_WRN("cannot resolve %s (%d)", cfg->mqtt_host, err);
		return -EHOSTUNREACH;
	}
	memcpy(&broker, res->ai_addr, MIN(res->ai_addrlen, sizeof(broker)));
	zsock_freeaddrinfo(res);
	return 0;
}

static int session_open(void)
{
	const struct app_config *cfg = app_cfg();
	int err;

	snprintk(base, sizeof(base), CONFIG_APP_MQTT_TOPIC_PREFIX "/%s", cfg->name);
	snprintk(will_topic_str, sizeof(will_topic_str), "%s/status", base);
	snprintk(client_id, sizeof(client_id), "%s-%s", cfg->name, net_t1s_device_id());

	err = resolve_broker();
	if (err) {
		return err;
	}

	mqtt_client_init(&client);
	will_topic = (struct mqtt_topic){
		.topic = {.utf8 = (const uint8_t *)will_topic_str, .size = strlen(will_topic_str)},
		.qos = MQTT_QOS_1_AT_LEAST_ONCE,
	};
	client.broker = &broker;
	client.evt_cb = mqtt_evt_handler;
	client.client_id.utf8 = (const uint8_t *)client_id;
	client.client_id.size = strlen(client_id);
	client.protocol_version = MQTT_VERSION_3_1_1;
	client.keepalive = CONFIG_APP_MQTT_KEEPALIVE_S;
	client.clean_session = 1;
	client.will_topic = &will_topic;
	client.will_message = &will_msg;
	client.will_retain = 1;
	client.rx_buf = rx_buf;
	client.rx_buf_size = sizeof(rx_buf);
	client.tx_buf = tx_buf;
	client.tx_buf_size = sizeof(tx_buf);
	/* TODO(security): MQTT_TRANSPORT_SECURE + TLS credentials, see docs. */
	client.transport.type = MQTT_TRANSPORT_NON_SECURE;

	LOG_INF("connecting to %s:%u as %s", cfg->mqtt_host, cfg->mqtt_port, client_id);
	return mqtt_connect(&client);
}

static void session_run(void)
{
	struct zsock_pollfd fds = {.fd = client.transport.tcp.sock, .events = ZSOCK_POLLIN};
	int64_t connect_deadline = k_uptime_get() + 10000;

	while (!atomic_cas(&reconnect_req, 1, 0)) {
		int keep = mqtt_keepalive_time_left(&client);
		int rc = zsock_poll(&fds, 1, MIN(keep, POLL_PERIOD_MS));

		if (rc < 0) {
			LOG_ERR("poll error %d", errno);
			break;
		}
		if (rc > 0) {
			if (fds.revents & (ZSOCK_POLLHUP | ZSOCK_POLLERR | ZSOCK_POLLNVAL)) {
				LOG_WRN("socket closed");
				break;
			}
			if ((fds.revents & ZSOCK_POLLIN) && mqtt_input(&client) < 0) {
				break;
			}
		}
		rc = mqtt_live(&client);
		if (rc < 0 && rc != -EAGAIN) {
			LOG_WRN("keep-alive failed (%d)", rc);
			break;
		}
		if (!connected) {
			if (k_uptime_get() > connect_deadline) {
				LOG_WRN("CONNACK timeout");
				break;
			}
			continue;
		}

		atomic_val_t bits = atomic_clear(&dirty);

		for (size_t ch = 0; bits && ch < dm_channel_count(); ch++) {
			if ((bits & BIT(ch)) && publish_state(ch) < 0) {
				atomic_or(&dirty, BIT(ch)); /* retry next round */
			}
		}
	}

	if (connected) {
		publish(will_topic_str, "offline", 7, true);
		mqtt_disconnect(&client, NULL);
	} else {
		mqtt_abort(&client);
	}
	connected = false;
}

static void mqtt_thread(void *a, void *b, void *c)
{
	uint32_t backoff = BACKOFF_MIN_MS;

	for (;;) {
		net_t1s_wait_online(K_FOREVER);

		if (session_open() == 0) {
			backoff = BACKOFF_MIN_MS;
			session_run();
		}

		/* Exponential backoff with jitter: avoids all nodes on a T1S
		 * segment hammering the broker in lock-step after a bus reset. */
		uint32_t delay = backoff / 2 + sys_rand32_get() % (backoff / 2 + 1);

		LOG_INF("reconnect in %u ms", delay);
		k_sleep(K_MSEC(delay));
		backoff = MIN(backoff * 2, BACKOFF_MAX_MS);
	}
}

K_THREAD_STACK_DEFINE(mqtt_stack, CONFIG_APP_MQTT_THREAD_STACK_SIZE);
static struct k_thread mqtt_tid;

int mqtt_app_init(void)
{
	int err = dm_register_listener(dm_listener);

	if (err) {
		return err;
	}
	k_thread_create(&mqtt_tid, mqtt_stack, K_THREAD_STACK_SIZEOF(mqtt_stack), mqtt_thread,
			NULL, NULL, NULL, CONFIG_APP_MQTT_THREAD_PRIO, 0, K_NO_WAIT);
	k_thread_name_set(&mqtt_tid, "mqtt");
	return 0;
}

void mqtt_app_reconnect(void)
{
	atomic_set(&reconnect_req, 1);
}

bool mqtt_app_is_connected(void)
{
	return connected;
}
```

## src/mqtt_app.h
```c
/* SPDX-License-Identifier: Apache-2.0 */
#ifndef MQTT_APP_H_
#define MQTT_APP_H_

#include <stdbool.h>

/* Register with the device model and start the MQTT thread. */
int mqtt_app_init(void);

/* Drop the current session and reconnect (e.g. after broker change). */
void mqtt_app_reconnect(void);

bool mqtt_app_is_connected(void);

#endif
```

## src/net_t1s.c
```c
/* SPDX-License-Identifier: Apache-2.0 */
#include "net_t1s.h"
#include "app_settings.h"
#include "status_led.h"

#include <errno.h>
#include <stdio.h>
#include <string.h>
#include <zephyr/drivers/hwinfo.h>
#include <zephyr/logging/log.h>
#include <zephyr/net/conn_mgr_monitor.h>
#include <zephyr/net/dhcpv4.h>
#include <zephyr/net/ethernet.h>
#include <zephyr/net/ethernet_mgmt.h>
#include <zephyr/net/hostname.h>
#include <zephyr/net/net_if.h>
#include <zephyr/net/net_mgmt.h>

LOG_MODULE_REGISTER(t1s, CONFIG_APP_LOG_LEVEL);

#define L4_EVENTS (NET_EVENT_L4_CONNECTED | NET_EVENT_L4_DISCONNECTED)

static struct net_if *iface;
static struct net_mgmt_event_callback l4_cb;
static K_EVENT_DEFINE(net_events);
#define EVT_ONLINE BIT(0)

static char device_id[13]; /* 6 bytes hex */
static uint8_t mac[6];

const char *net_t1s_device_id(void)
{
	return device_id;
}

static void make_identity(void)
{
	uint8_t id[8] = {0};
	ssize_t len = hwinfo_get_device_id(id, sizeof(id));

	if (len <= 0) {
		LOG_WRN("hwinfo unavailable, using fallback id");
		memcpy(id, "\x00\x00\xde\xad\xbe\xef", 6);
	}

	/*
	 * Locally administered, unicast MAC from the low 5 bytes of the
	 * FICR DEVICEID. For a product, buy an OUI block or use a pre-
	 * programmed EUI-48 EEPROM (e.g. 24AA02E48) instead.
	 */
	mac[0] = 0x02;
	memcpy(&mac[1], &id[len > 5 ? len - 5 : 0], 5);
	snprintk(device_id, sizeof(device_id), "%02x%02x%02x%02x%02x%02x", mac[0], mac[1], mac[2],
		 mac[3], mac[4], mac[5]);
}

/*
 * Both NET_REQUEST_ETHERNET_SET_MAC_ADDRESS and ..._SET_T1S_PARAM are refused
 * (-EACCES) by the Zephyr ethernet mgmt layer while the interface is up.
 */
static bool iface_down(void)
{
	bool was_up = net_if_is_admin_up(iface);

	if (was_up) {
		net_if_down(iface);
	}
	return was_up;
}

static void iface_restore(bool was_up)
{
	if (was_up) {
		net_if_up(iface);
	}
}

static int set_mac(void)
{
	struct ethernet_req_params p = {0};

	memcpy(p.mac_address.addr, mac, sizeof(mac));
	return net_mgmt(NET_REQUEST_ETHERNET_SET_MAC_ADDRESS, iface, &p, sizeof(p));
}

static int set_plca(uint8_t node_id, uint8_t node_count)
{
	struct ethernet_req_params p = {0};

	p.t1s_param.type = ETHERNET_T1S_PARAM_TYPE_PLCA_CONFIG;
	p.t1s_param.plca.enable = (node_id != 255);
	p.t1s_param.plca.node_id = node_id;
	p.t1s_param.plca.node_count = node_count;
	p.t1s_param.plca.burst_count = CONFIG_APP_PLCA_BURST_COUNT;
	p.t1s_param.plca.burst_timer = CONFIG_APP_PLCA_BURST_TIMER;
	p.t1s_param.plca.to_timer = CONFIG_APP_PLCA_TO_TIMER;

	int err = net_mgmt(NET_REQUEST_ETHERNET_SET_T1S_PARAM, iface, &p, sizeof(p));

	if (err) {
		LOG_ERR("PLCA config failed (%d)", err);
	} else if (p.t1s_param.plca.enable) {
		LOG_INF("PLCA node %u/%u%s", node_id, node_count,
			node_id == 0 ? " (coordinator)" : "");
	} else {
		LOG_INF("PLCA disabled (CSMA/CD)");
	}
	return err;
}

int net_t1s_apply_plca(uint8_t node_id, uint8_t node_count)
{
	if (!iface) {
		return -ENODEV;
	}
	/* Takes the link down briefly; MQTT/Matter reconnect on L4 up. */
	bool was_up = iface_down();
	int err = set_plca(node_id, node_count);

	iface_restore(was_up);
	return err;
}

static void l4_handler(struct net_mgmt_event_callback *cb, uint64_t event, struct net_if *i)
{
	if (event == NET_EVENT_L4_CONNECTED) {
		LOG_INF("network online");
		k_event_post(&net_events, EVT_ONLINE);
		status_led_set(STATUS_NETWORK_UP);
	} else if (event == NET_EVENT_L4_DISCONNECTED) {
		LOG_WRN("network offline");
		k_event_clear(&net_events, EVT_ONLINE);
		status_led_set(STATUS_NO_NETWORK);
	}
}

bool net_t1s_is_online(void)
{
	return k_event_test(&net_events, EVT_ONLINE) != 0;
}

int net_t1s_wait_online(k_timeout_t timeout)
{
	return k_event_wait(&net_events, EVT_ONLINE, false, timeout) ? 0 : -EAGAIN;
}

int net_t1s_init(void)
{
	const struct app_config *cfg = app_cfg();
	char host[CONFIG_NET_HOSTNAME_MAX_LEN];
	int err;

	iface = net_if_get_first_by_type(&NET_L2_GET_NAME(ETHERNET));
	if (!iface) {
		LOG_ERR("no Ethernet interface - LAN865x not probed? Check SPI/IRQ/RESET wiring");
		return -ENODEV;
	}

	make_identity();

	bool was_up = iface_down();

	err = set_mac();
	if (err) {
		LOG_WRN("MAC override failed (%d), keeping DT address", err);
	}
	err = set_plca(cfg->plca_node_id, cfg->plca_node_count);
	iface_restore(was_up);
	if (err) {
		return err;
	}

	/* "<name>-<last 3 MAC bytes>.local" via the mDNS responder. */
	snprintk(host, sizeof(host), "%s-%s", cfg->name, &device_id[6]);
	net_hostname_set(host, strlen(host));
	LOG_INF("hostname %s.local, MAC %02x:%02x:%02x:%02x:%02x:%02x", host, mac[0], mac[1],
		mac[2], mac[3], mac[4], mac[5]);

	net_mgmt_init_event_callback(&l4_cb, l4_handler, L4_EVENTS);
	net_mgmt_add_event_callback(&l4_cb);
	status_led_set(STATUS_NO_NETWORK);

	/* Fire L4 events for the current state, in case we are already up. */
	conn_mgr_mon_resend_status();

	net_dhcpv4_start(iface);
	return 0;
}
```

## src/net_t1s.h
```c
/* SPDX-License-Identifier: Apache-2.0 */
#ifndef NET_T1S_H_
#define NET_T1S_H_

#include <stdbool.h>
#include <stdint.h>
#include <zephyr/kernel.h>

/* Bring up the 10BASE-T1S interface: MAC from FICR, PLCA from settings,
 * hostname, DHCPv4 (+ IPv6 SLAAC/link-local, needed for Matter). */
int net_t1s_init(void);

/* Re-apply PLCA parameters at runtime (e.g. after `sb plca`). */
int net_t1s_apply_plca(uint8_t node_id, uint8_t node_count);

/* True once an IPv4 or global/ULA IPv6 address is usable (conn_mgr L4 up). */
bool net_t1s_is_online(void);

/* Block until online or timeout. Returns 0 when online, -EAGAIN on timeout. */
int net_t1s_wait_online(k_timeout_t timeout);

/* Unique per device, derived from FICR; usable for MQTT client id. */
const char *net_t1s_device_id(void);

#endif
```

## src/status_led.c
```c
/* SPDX-License-Identifier: Apache-2.0 */
#include "status_led.h"

#include <zephyr/drivers/gpio.h>
#include <zephyr/kernel.h>

#define USER_NODE DT_PATH(zephyr_user)

#if DT_NODE_HAS_PROP(USER_NODE, status_led_gpios)
static const struct gpio_dt_spec led = GPIO_DT_SPEC_GET(USER_NODE, status_led_gpios);
static enum status_led_mode mode = STATUS_BOOT;
static uint32_t tick;

static void led_work_fn(struct k_work *w);
static K_WORK_DELAYABLE_DEFINE(led_work, led_work_fn);

/* 100 ms tick; pattern = bitmask over a 20-tick (2 s) period. */
static bool pattern_on(enum status_led_mode m, uint32_t t)
{
	switch (m) {
	case STATUS_BOOT:       return true;
	case STATUS_NO_NETWORK: return (t % 2) == 0;
	case STATUS_NETWORK_UP: return (t % 20) < 10;
	case STATUS_ONLINE:     return (t % 50) == 0;
	case STATUS_ERROR:      return (t % 20) == 0 || (t % 20) == 2;
	}
	return false;
}

static void led_work_fn(struct k_work *w)
{
	gpio_pin_set_dt(&led, pattern_on(mode, tick++));
	k_work_schedule(&led_work, K_MSEC(100));
}

int status_led_init(void)
{
	if (!gpio_is_ready_dt(&led)) {
		return -ENODEV;
	}
	int err = gpio_pin_configure_dt(&led, GPIO_OUTPUT_ACTIVE);

	if (!err) {
		k_work_schedule(&led_work, K_MSEC(100));
	}
	return err;
}

void status_led_set(enum status_led_mode m)
{
	mode = m;
	tick = 0;
}
#else
int status_led_init(void)
{
	return 0;
}
void status_led_set(enum status_led_mode m)
{
	ARG_UNUSED(m);
}
#endif
```
